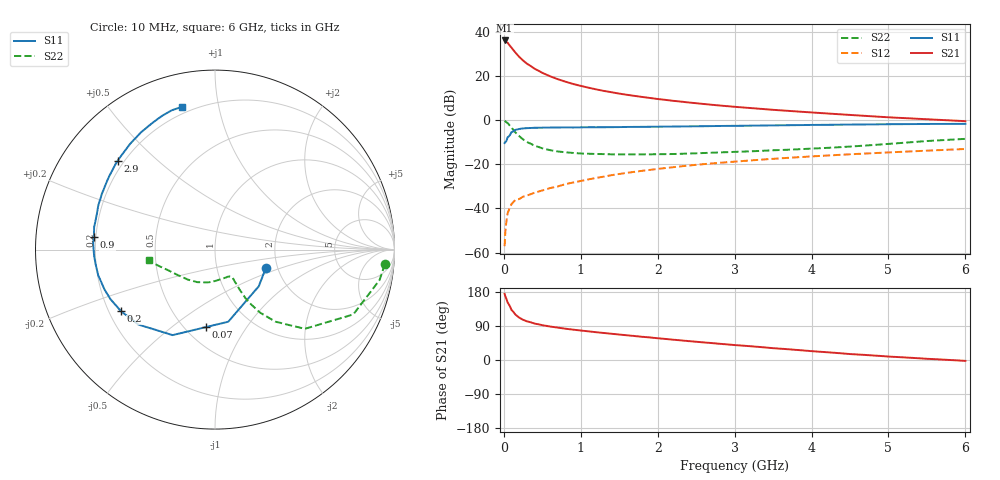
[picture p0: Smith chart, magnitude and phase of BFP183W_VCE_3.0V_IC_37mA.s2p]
! Infineon Technologies  Discrete & RF Semiconductors
! BFP183W
! VCE =  3.0 V,  IC =  37 mA
! Common Emitter S-Parameters:  Jan 2017
# GHz  S  MA  R  50
!  f  S11  S21  S12  S22
! GHz  MAG  ANG  MAG  ANG  MAG  ANG  MAG  ANG
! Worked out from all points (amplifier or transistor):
!   77 points, 10 MHz to 6 GHz, reference 50 ohm
!   highest |S21| = 36.0 dB at 10 MHz (marker M1)
!   |S21| within 3 dB of that: start of sweep to 92.89 MHz
!   unconditionally stable (mu >= 1): 691.5 MHz to 3.432 GHz
!   at 130 MHz: K = 0.37, MSG = 34.1 dB, |S12| = -36.9 dB
!   at 2.2 GHz: K = 1.08, MAG = 13.3 dB, |S12| = -21.4 dB
!   at 6 GHz: K = 0.87, MSG = 6.3 dB, |S12| = -13.1 dB
!   S11 on the Smith chart (normalised r, x): 10 MHz: 1.74, -0.39; 70 MHz: 0.63, -0.67; 200 MHz: 0.25, -0.28; 900 MHz: 0.19, +0.05; 2.9 GHz: 0.18, +0.38; 6 GHz: 0.16, +0.78
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0.01  0.3012 -19.6  62.86 174.5  0.0014 77.5  0.9499 -4.9
0.02  0.3182 -40.0  61.64 167.9  0.0031 97.5  0.9323 -10.5
0.05  0.4086 -79.6  55.59 151.6  0.0078 66.1  0.851 -25.1
0.07  0.4347 -96.7  49.92 144.9  0.0097 62.2  0.7704 -30.7
0.1  0.532 -116.4  43.08 131.9  0.0125 58.6  0.6673 -41.4
0.15  0.5969 -135.6  33.47 119.9  0.0155 49.6  0.5243 -50.0
0.2  0.6261 -146.8  26.75 111.8  0.0163 50.0  0.4305 -54.5
0.25  0.6445 -154.6  22.14 106.1  0.0184 47.0  0.3653 -56.6
0.3  0.6544 -160.1  18.77 102.1  0.0195 49.3  0.3186 -57.9
0.4  0.6661 -167.6  14.41 96.1  0.0226 51.6  0.2618 -58.4
0.5  0.6699 -172.9  11.63 91.9  0.0255 54.9  0.2289 -58.2
0.6  0.6742 -176.9  9.762 88.4  0.0288 56.4  0.2078 -58.3
0.7  0.6766 179.8  8.378 85.5  0.0313 59.9  0.194 -58.0
0.9  0.6774 174.0  6.529 80.1  0.0385 61.3  0.1796 -59.0
1.1  0.685 169.5  5.373 75.6  0.0453 63.9  0.1726 -60.4
1.5  0.6908 161.3  3.949 67.2  0.0601 64.5  0.1665 -66.4
2.1  0.7071 150.3  2.848 55.6  0.0818 63.3  0.1689 -80.4
2.9  0.7342 137.5  2.057 41.2  0.1107 59.2  0.1872 -103.0
3.1  0.74 134.6  1.925 38.0  0.1178 58.0  0.1925 -108.5
4.1  0.7747 121.1  1.442 21.9  0.1534 51.8  0.2292 -134.9
5.1  0.8033 110.7  1.126 8.0  0.1881 45.0  0.2963 -158.6
6  0.817 102.9  0.94 -2.3  0.2208 38.6  0.3744 -170.8
